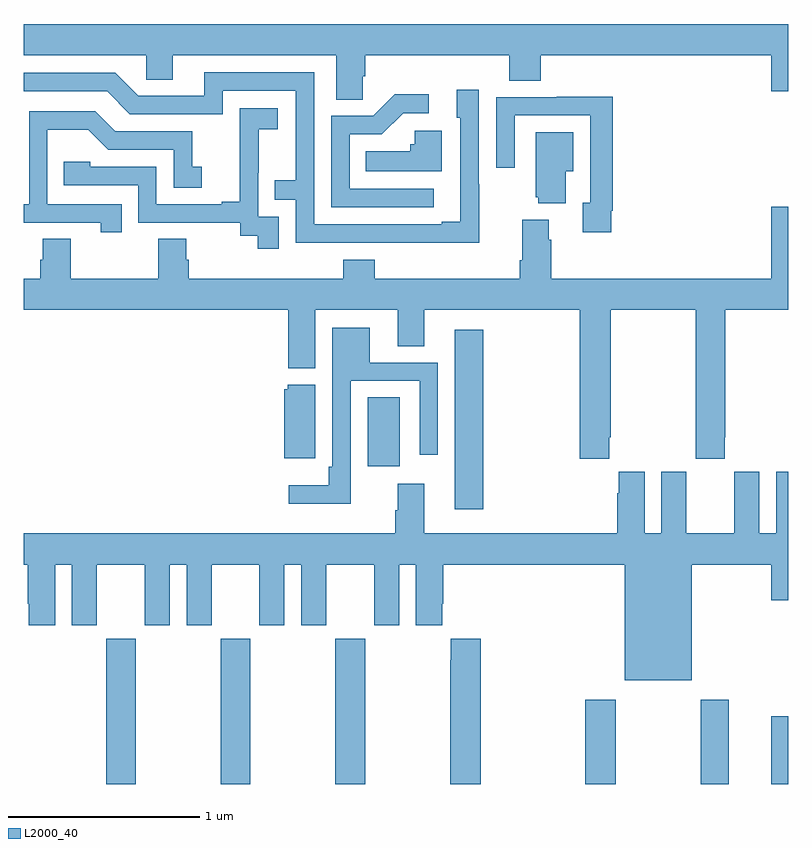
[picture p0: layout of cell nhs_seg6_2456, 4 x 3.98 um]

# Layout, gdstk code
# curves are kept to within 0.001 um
import gdstk
lib = gdstk.Library(unit=1e-6, precision=1e-09)
def R(c, l, rs):  # rectangles x0, y0, x1, y1
    for r in rs: c.add(gdstk.rectangle(r[:2], r[2:], *l))
def A(c, l, x, y, w, h, nx, ny, dx, dy):  # array of equal rectangles
    R(c, l, [(x+i*dx, y+j*dy, x+i*dx+w, y+j*dy+h) for i in range(nx) for j in range(ny)])
def P(c, l, *ps):  # polygons
    for p in ps: c.add(gdstk.Polygon(p, *l))
L2000_40 = (2000, 40)

nhs_seg6_2456 = lib.new_cell('nhs_seg6_2456')
A(nhs_seg6_2456, L2000_40, 257.431, 967.5, 0.155, 0.76, 3, 1, 0.6, 0)
R(nhs_seg6_2456, L2000_40, [(259.937,967.5,260.097,967.942), (260.541,967.5,260.689,967.942), (260.912,967.5,261,967.855), (259.256,968.937,259.403,969.877), (258.8,969.162,258.967,969.524)])
P(nhs_seg6_2456, L2000_40, [(258.774,971.203),(258.788,971.203),(258.788,971.312),(259.541,971.312),(259.541,971.179),(259.706,971.179),(259.706,971.312),(260.912,971.312),(260.912,971.124),(261,971.124),(261,971.476),(257,971.476),(257,971.312),(257.64,971.312),(257.64,971.185),(257.779,971.185),(257.779,971.312),(258.635,971.312),(258.635,971.08),(258.774,971.08)],
  [(259.383,970.637),(259.38,970.637),(259.38,971.131),(259.265,971.131),(259.265,970.986),(259.284,970.986),(259.283,970.441),(259.187,970.441),(259.187,970.428),(258.519,970.428),(258.519,971.223),(257.945,971.223),(257.945,971.1),(257.598,971.1),(257.478,971.22),(257,971.22),(257,971.124),(257.436,971.124),(257.556,971.004),(258.042,971.004),(258.042,971.127),(258.423,971.127),(258.423,970.658),(258.313,970.658),(258.313,970.557),(258.423,970.557),(258.423,970.332),(259.383,970.331)],
  [(259.144,970.614),(258.705,970.614),(258.705,970.899),(258.874,970.899),(258.985,971.01),(259.12,971.01),(259.12,971.108),(258.941,971.108),(258.828,970.995),(258.609,970.995),(258.609,970.518),(259.144,970.518)],
  [(260.074,970.498),(260.081,970.498),(260.081,971.096),(259.789,971.096),(259.789,971.094),(259.473,971.094),(259.473,970.725),(259.569,970.725),(259.569,970.998),(259.965,970.998),(259.965,970.542),(259.925,970.542),(259.925,970.386),(260.074,970.386)],
  [(258.333,970.467),(258.228,970.467),(258.228,970.697),(258.23,970.697),(258.23,970.925),(258.328,970.925),(258.328,971.035),(258.13,971.035),(258.13,970.829),(258.131,970.829),(258.131,970.546),(258.035,970.546),(258.035,970.533),(257.694,970.533),(257.694,970.728),(257.349,970.728),(257.349,970.755),(257.209,970.755),(257.209,970.632),(257.598,970.632),(257.598,970.437),(258.132,970.437),(258.132,970.369),(258.225,970.369),(258.225,970.299),(258.333,970.299)],
  [(257.513,970.533),(257.124,970.533),(257.124,970.922),(257.338,970.922),(257.442,970.818),(257.784,970.818),(257.784,970.62),(257.932,970.62),(257.932,970.729),(257.883,970.729),(257.883,970.914),(257.479,970.914),(257.374,971.019),(257.028,971.019),(257.028,970.533),(257,970.533),(257,970.437),(257.402,970.437),(257.402,970.386),(257.513,970.386)],
  [(259.186,970.918),(259.047,970.918),(259.047,970.848),(259.021,970.848),(259.021,970.81),(258.79,970.81),(258.79,970.706),(259.186,970.706)],
  [(259.837,970.706),(259.876,970.706),(259.876,970.909),(259.679,970.909),(259.679,970.569),(259.691,970.569),(259.691,970.538),(259.837,970.538)],
  [(260.063,969.313),(260.07,969.313),(260.07,969.98),(260.515,969.98),(260.515,969.313),(260.517,969.313),(260.517,969.201),(260.667,969.201),(260.667,969.313),(260.67,969.313),(260.67,969.98),(261,969.98),(261,970.519),(260.912,970.519),(260.912,970.144),(259.76,970.144),(259.76,970.346),(259.747,970.346),(259.747,970.453),(259.607,970.453),(259.607,970.24),(259.595,970.24),(259.595,970.144),(258.836,970.144),(258.836,970.243),(258.671,970.243),(258.671,970.144),(257.864,970.144),(257.864,970.242),(257.851,970.242),(257.851,970.352),(257.704,970.352),(257.704,970.144),(257.247,970.144),(257.247,970.352),(257.099,970.352),(257.099,970.242),(257.087,970.242),(257.087,970.144),(257,970.144),(257,969.98),(258.383,969.98),(258.383,969.674),(258.526,969.674),(258.526,969.98),(258.956,969.98),(258.956,969.79),(259.096,969.79),(259.096,969.98),(259.91,969.98),(259.91,969.201),(260.063,969.201)],
  [(258.711,969.609),(259.071,969.609),(259.071,969.222),(259.167,969.222),(259.167,969.705),(258.811,969.705),(258.811,969.886),(258.615,969.886),(258.615,969.16),(258.595,969.16),(258.595,969.064),(258.387,969.064),(258.387,968.966),(258.711,968.966)],
  [(258.526,969.589),(258.381,969.589),(258.381,969.564),(258.362,969.564),(258.362,969.203),(258.526,969.203)],
  [(260.494,968.648),(260.912,968.648),(260.912,968.46),(261,968.46),(261,969.133),(260.936,969.133),(260.936,968.812),(260.848,968.812),(260.848,969.133),(260.718,969.133),(260.718,969.02),(260.717,969.02),(260.717,968.812),(260.467,968.812),(260.467,969.02),(260.466,969.02),(260.466,969.133),(260.336,969.133),(260.336,968.812),(260.248,968.812),(260.248,969.133),(260.114,969.133),(260.114,969.02),(260.105,969.02),(260.105,968.812),(259.096,968.812),(259.096,969.07),(258.956,969.07),(258.956,968.933),(258.944,968.933),(258.944,968.812),(257,968.812),(257,968.648),(257.021,968.648),(257.021,968.443),(257.027,968.443),(257.027,968.331),(257.164,968.331),(257.164,968.648),(257.252,968.648),(257.252,968.331),(257.383,968.331),(257.383,968.648),(257.633,968.648),(257.633,968.331),(257.764,968.331),(257.764,968.648),(257.852,968.648),(257.852,968.331),(257.983,968.331),(257.983,968.648),(258.233,968.648),(258.233,968.331),(258.364,968.331),(258.364,968.648),(258.452,968.648),(258.452,968.331),(258.583,968.331),(258.583,968.648),(258.833,968.648),(258.833,968.331),(258.964,968.331),(258.964,968.648),(259.052,968.648),(259.052,968.331),(259.189,968.331),(259.189,968.443),(259.196,968.443),(259.196,968.648),(260.144,968.648),(260.144,968.042),(260.494,968.042)],
  [(259.391,968.26),(259.235,968.26),(259.235,968.147),(259.231,968.147),(259.231,967.5),(259.391,967.5)])

lib.write_gds('nhs_seg6_2456.gds')
